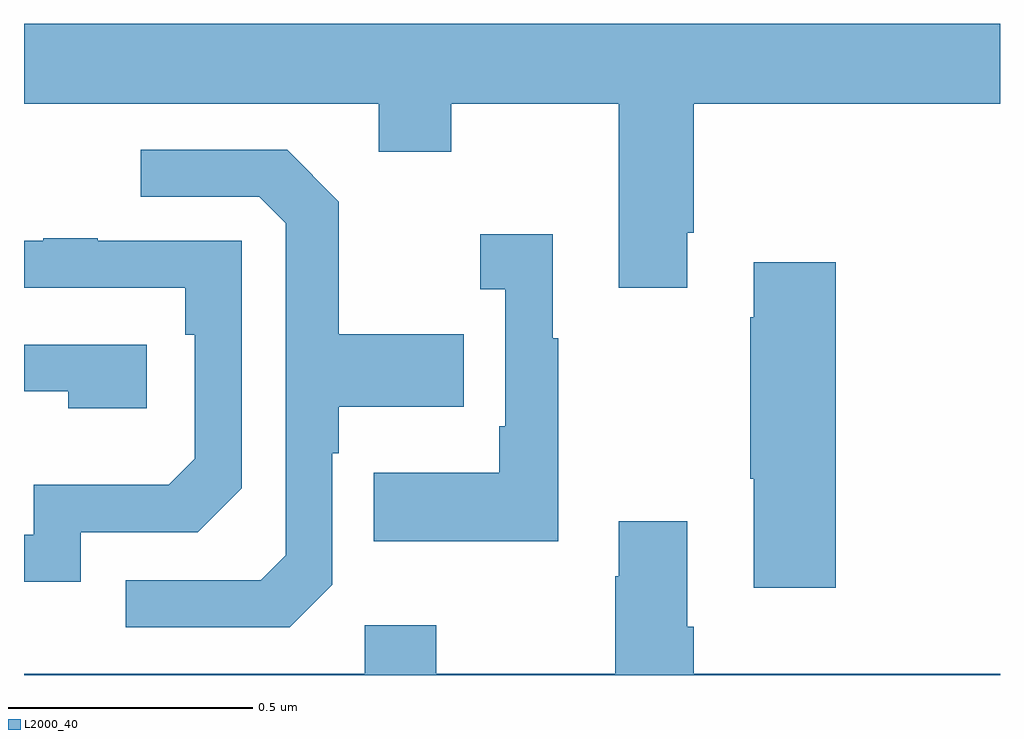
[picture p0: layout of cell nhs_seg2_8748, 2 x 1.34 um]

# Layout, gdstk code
import gdstk
lib = gdstk.Library(unit=1e-6, precision=1e-09)
def P(c, l, *ps):  # polygons
    for p in ps: c.add(gdstk.Polygon(p, *l))
L2000_40 = (2000, 40)

nhs_seg2_8748 = lib.new_cell('nhs_seg2_8748')
P(nhs_seg2_8748, L2000_40, [(221.359,644.707),(221.372,644.707),(221.372,644.972),(222,644.972),(222,645.136),(220,645.136),(220,644.972),(220.727,644.972),(220.727,644.873),(220.875,644.873),(220.875,644.972),(221.219,644.972),(221.219,644.595),(221.359,644.595)],
  [(220.632,643.986),(220.632,644.255),(220.645,644.255),(220.645,644.351),(220.901,644.351),(220.901,644.499),(220.645,644.499),(220.645,644.771),(220.539,644.877),(220.239,644.877),(220.239,644.781),(220.482,644.781),(220.536,644.727),(220.536,644.046),(220.485,643.995),(220.209,643.995),(220.209,643.899),(220.545,643.899)],
  [(221.095,644.491),(221.083,644.491),(221.083,644.704),(220.935,644.704),(220.935,644.591),(220.986,644.591),(220.986,644.311),(220.974,644.311),(220.974,644.215),(220.717,644.215),(220.717,644.075),(221.095,644.075)],
  [(220.116,644.094),(220.356,644.094),(220.446,644.184),(220.446,644.691),(220.151,644.691),(220.151,644.696),(220.039,644.696),(220.039,644.691),(220,644.691),(220,644.595),(220.33,644.595),(220.33,644.498),(220.35,644.498),(220.35,644.244),(220.297,644.191),(220.02,644.191),(220.02,644.088),(220,644.088),(220,643.992),(220.116,643.992)],
  [(221.663,644.647),(221.495,644.647),(221.495,644.534),(221.488,644.534),(221.488,644.203),(221.495,644.203),(221.495,643.98),(221.663,643.98)],
  [(220.252,644.478),(220,644.478),(220,644.382),(220.091,644.382),(220.091,644.348),(220.252,644.348)],
  [(222,643.804),(221.372,643.804),(221.372,643.9),(221.359,643.9),(221.359,644.116),(221.219,644.116),(221.219,644.003),(221.212,644.003),(221.212,643.804),(220.845,643.804),(220.845,643.903),(220.698,643.903),(220.698,643.804),(220,643.804),(220,643.8),(222,643.8)])

lib.write_gds('nhs_seg2_8748.gds')
